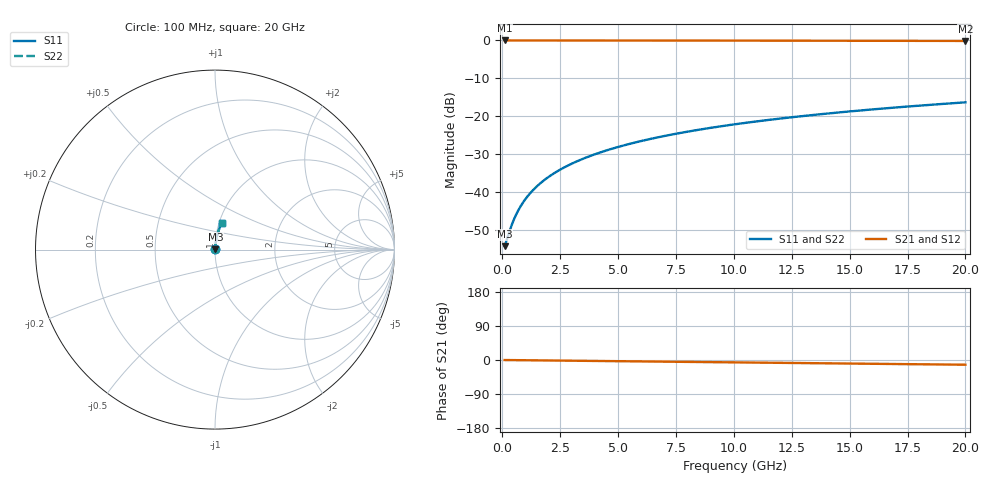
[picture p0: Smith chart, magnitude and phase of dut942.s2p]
! Touchstone file exported from HFSS 2026.1.0
!  File:  C:/ffzhzh/LocalFiles/Ansys_Project_Files/temp_train_TSV_942_1783187073_51560.aedt
!  Generated:  01:46:56 AM Jul  5, 2026
!  Design:  TSV
!  Project:  temp_train_TSV_942_1783187073_51560
! Variables:
!  h_bsmrdl = 2um
!  h_ox = 20um
!  h_rdl = 5um
!  h_sub = 84.54um
!  h_tmrdl = 5um
!  h_tsv = 84.54um
!  h_via = 3um
!  l_bsmrdl = 300um
!  l_sub = 404.66um
!  l_tmrdl = 200um
!  m_sub = 200um
!  pitch = 48.15um
!  r_tsv = 2.33um
!  s_tmrdl = 10um
!  w_bsmrdl = 18um
!  w_sub = 500um
!  w_tmrdl = 12um
!  x_tsv_center1 = 206um
!  x_tsv_center2 = 524um
!  x_tsv_center3 = 736um
!  x_tsv_center4 = 1054um
!  x_tsv_center5 = 1266um
!  x_tsv_center6 = 1584um
# GHz S MA R 50.000000
! Terminal data exported
! Port[1] = TSV1_1_T1
! Port[2] = TSV1_1_T2
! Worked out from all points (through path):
!   200 points, 100 MHz to 20 GHz, reference 50 ohm
!   highest |S21| = -0.02 dB at 100 MHz (marker M1); lowest = -0.1 dB at 20 GHz (marker M2)
!   group delay of S21, straight-line fit = 1.73 ps
!   lowest |S11| = -54.2 dB at 100 MHz (marker M3), VSWR 1.00, Z = 50.2 + j0.0802 ohm
!   |S11| at or under -10 dB: start of sweep to end of sweep
!   |S22| runs from -54.2 to -16.3 dB; largest |S21 - S12| = 2.7e-15
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0.1  0.001961 24.1  0.9982 -0.1  0.9982 -0.1  0.001961 24.1
! Gamma 0 0 0 0
! Port Impedance 50 0 50 0
0.4  0.003673 60.3  0.9982 -0.3  0.9982 -0.3  0.003673 60.3
0.5  0.004386 65.3  0.9982 -0.3  0.9982 -0.3  0.004386 65.3
0.6  0.005123 68.8  0.9982 -0.4  0.9982 -0.4  0.005123 68.8
0.7  0.005874 71.5  0.9982 -0.4  0.9982 -0.4  0.005874 71.5
0.9  0.007401 75.1  0.9981 -0.6  0.9981 -0.6  0.007401 75.1
1.2  0.009725 78.3  0.9981 -0.8  0.9981 -0.8  0.009725 78.3
1.4  0.01129 79.6  0.9981 -0.9  0.9981 -0.9  0.01129 79.6
1.7  0.01364 81.0  0.998 -1.1  0.998 -1.1  0.01364 81.0
2.2  0.01757 82.4  0.9979 -1.4  0.9979 -1.4  0.01757 82.4
2.8  0.0223 83.2  0.9978 -1.8  0.9978 -1.8  0.0223 83.2
3.5  0.02781 83.6  0.9976 -2.2  0.9976 -2.2  0.02781 83.6
4.2  0.03332 83.8  0.9974 -2.7  0.9974 -2.7  0.03332 83.8
5  0.03961 83.7  0.997 -3.2  0.997 -3.2  0.03961 83.7
5.9  0.04665 83.4  0.9966 -3.7  0.9966 -3.7  0.04665 83.4
6.8  0.05368 83.1  0.9961 -4.3  0.9961 -4.3  0.05368 83.1
8.3  0.06532 82.4  0.9952 -5.3  0.9952 -5.3  0.06532 82.4
10.1  0.07918 81.5  0.9939 -6.4  0.9939 -6.4  0.07918 81.5
11.7  0.09139 80.6  0.9926 -7.4  0.9926 -7.4  0.09139 80.6
13.4  0.1043 79.7  0.9911 -8.4  0.9911 -8.4  0.1043 79.7
16.7  0.1289 77.8  0.9877 -10.4  0.9877 -10.4  0.1289 77.8
20  0.1531 75.9  0.9839 -12.5  0.9839 -12.5  0.1531 75.9
